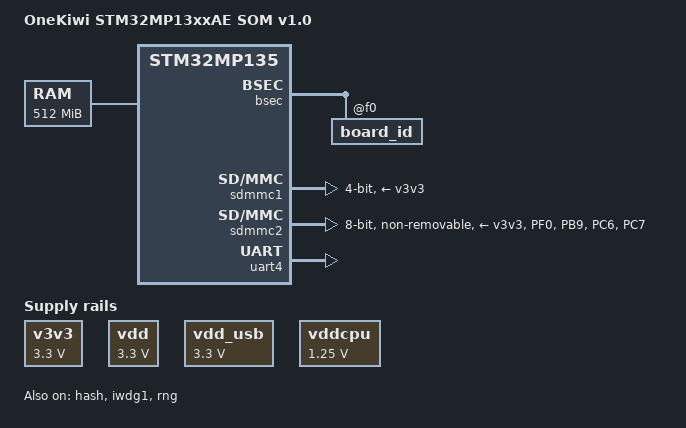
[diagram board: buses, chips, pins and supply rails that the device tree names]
// SPDX-License-Identifier: (GPL-2.0+ OR BSD-3-Clause)
/*
 * Copyright (C) STMicroelectronics 2022 - All Rights Reserved
 * Author: Alexandre Torgue <alexandre.torgue@foss.st.com> for STMicroelectronics.
 */

/dts-v1/;

#include <dt-bindings/clock/stm32mp13-clksrc.h>
#include <dt-bindings/pinctrl/stm32-pinfunc.h>
#include "stm32mp135.dtsi"
#include "stm32mp13xd.dtsi"
#include "stm32mp13-ddr3-1x4Gb-1066-binF.dtsi"
#include "stm32mp13-pinctrl.dtsi"

&pinctrl {
	i2c4_pins_b: i2c4-1 {
		pins {
			pinmux = <STM32_PINMUX('E', 15, AF6)>, /* I2C4_SCL */
				 <STM32_PINMUX('B', 7, AF6)>; /* I2C4_SDA */
			bias-disable;
			drive-open-drain;
			slew-rate = <0>;
		};
	};

	sdmmc2_d47_pins_a: sdmmc2-d47-0 {
		pins {
			pinmux = <STM32_PINMUX('F', 0, AF10)>, /* SDMMC2_D4 */
				 <STM32_PINMUX('B', 9, AF10)>, /* SDMMC2_D5 */
				 <STM32_PINMUX('C', 6, AF10)>, /* SDMMC2_D6 */
				 <STM32_PINMUX('C', 7, AF10)>; /* SDMMC2_D7 */
			slew-rate = <1>;
			drive-push-pull;
			bias-pull-up;
		};
	};

	sdmmc2_d47_sleep_pins_a: sdmmc2-d47-sleep-0 {
		pins {
			pinmux = <STM32_PINMUX('F', 0, ANALOG)>, /* SDMMC2_D4 */
				 <STM32_PINMUX('B', 9, ANALOG)>, /* SDMMC2_D5 */
				 <STM32_PINMUX('C', 6, ANALOG)>, /* SDMMC2_D6 */
				 <STM32_PINMUX('C', 7, ANALOG)>; /* SDMMC2_D7 */
		};
	};
};

/ {
	model = "OneKiwi STM32MP13xxAE SOM v1.0";
	compatible = "st,stm32mp13xxae-som", "st,stm32mp135";

	aliases {
		serial0 = &uart4;
	};

	chosen {
		stdout-path = "serial0:115200n8";
	};

	memory@c0000000 {
		device_type = "memory";
		reg = <0xc0000000 0x20000000>;
	};

	v3v3: v3v3 {
		compatible = "regulator-fixed";
		regulator-name = "v3v3";
		regulator-min-microvolt = <3300000>;
		regulator-max-microvolt = <3300000>;
		regulator-always-on;
	};

	vdd: vdd {
		compatible = "regulator-fixed";
		regulator-name = "vdd";
		regulator-min-microvolt = <3300000>;
		regulator-max-microvolt = <3300000>;
		regulator-always-on;
	};

	vdd_usb: vdd_usb {
		compatible = "regulator-fixed";
		regulator-name = "vdd_usb";
		regulator-min-microvolt = <3300000>;
		regulator-max-microvolt = <3300000>;
		regulator-always-on;
	};

	vddcpu: vddcpu {
		compatible = "regulator-fixed";
		regulator-name = "vddcpu";
		regulator-min-microvolt = <1250000>;
		regulator-max-microvolt = <1250000>;
		regulator-always-on;
	};
};

&bsec {
	board_id: board_id@f0 {
		reg = <0xf0 0x4>;
		st,non-secure-otp;
	};
};

&cpu0 {
	cpu-supply = <&vddcpu>;
};

&hash {
	status = "okay";
};

&i2c4 {
	pinctrl-names = "default";
	pinctrl-0 = <&i2c4_pins_b>;
	i2c-scl-rising-time-ns = <185>;
	i2c-scl-falling-time-ns = <20>;
	clock-frequency = <400000>;
	status = "disabled";
};

&iwdg1 {
	timeout-sec = <32>;
	status = "okay";
};

/*
&pka {
	status = "okay";
};*/

&pwr_regulators {
	vdd-supply = <&vdd>;
	vdd_3v3_usbfs-supply = <&vdd_usb>;
};

&rcc {
	st,clksrc = <
		CLK_MPU_PLL1P
		CLK_AXI_PLL2P
		CLK_MLAHBS_PLL3
		CLK_CKPER_HSE
		CLK_RTC_LSE
		CLK_SDMMC1_PLL4P
		CLK_SDMMC2_PLL4P
		CLK_STGEN_HSE
		CLK_USBPHY_HSE
		CLK_I2C4_HSI
		CLK_USBO_USBPHY
		CLK_I2C12_HSI
		CLK_UART2_HSI
		CLK_UART4_HSI
		CLK_SAES_AXI
	>;

	st,clkdiv = <
		DIV(DIV_AXI, 0)
		DIV(DIV_MLAHB, 0)
		DIV(DIV_APB1, 1)
		DIV(DIV_APB2, 1)
		DIV(DIV_APB3, 1)
		DIV(DIV_APB4, 1)
		DIV(DIV_APB5, 2)
		DIV(DIV_APB6, 1)
		DIV(DIV_RTC, 0)
	>;

	st,pll_vco {
		pll1_vco_1300Mhz: pll1-vco-1300Mhz {
			src = < CLK_PLL12_HSE >;
			divmn = < 2 80 >;
			frac = < 0x800 >;
		};

		pll2_vco_1066Mhz: pll2-vco-1066Mhz {
			src = < CLK_PLL12_HSE >;
			divmn = < 2 65 >;
			frac = < 0x1400 >;
		};

		pll3_vco_417_8Mhz: pll3-vco-417_8Mhz {
			src = < CLK_PLL3_HSE >;
			divmn = < 1 33 >;
			frac = < 0x1a04 >;
		};

		pll4_vco_600Mhz: pll4-vco-600Mhz {
			src = < CLK_PLL4_HSE >;
			divmn = < 1 49 >;
		};
	};

	/* VCO = 1300.0 MHz => P = 650 (CPU) */
	pll1:st,pll@0 {
		compatible = "st,stm32mp1-pll";
		reg = <0>;

		st,pll = < &pll1_cfg1 >;

		pll1_cfg1: pll1_cfg1 {
			st,pll_vco = < &pll1_vco_1300Mhz >;
			st,pll_div_pqr = < 0 1 1 >;
		};
	};

	/* VCO = 1066.0 MHz => P = 266 (AXI), Q = 266, R = 533 (DDR) */
	pll2:st,pll@1 {
		compatible = "st,stm32mp1-pll";
		reg = <1>;

		st,pll = < &pll2_cfg1 >;

		pll2_cfg1: pll2_cfg1 {
			st,pll_vco = < &pll2_vco_1066Mhz >;
			st,pll_div_pqr = < 1 1 0 >;
		};
	};

	/* VCO = 417.8 MHz => P = 209, Q = 24, R = 209 */
	pll3:st,pll@2 {
		compatible = "st,stm32mp1-pll";
		reg = <2>;

		st,pll = < &pll3_cfg1 >;

		pll3_cfg1: pll3_cfg1 {
			st,pll_vco = < &pll3_vco_417_8Mhz >;
			st,pll_div_pqr = < 1 16 1 >;
		};
	};

	/* VCO = 600.0 MHz => P = 50, Q = 10, R = 100 */
	pll4:st,pll@3 {
		compatible = "st,stm32mp1-pll";
		reg = <3>;

		st,pll = < &pll4_cfg1 >;

		pll4_cfg1: pll4_cfg1 {
			st,pll_vco = < &pll4_vco_600Mhz >;
			st,pll_div_pqr = < 11 59 5 >;
		};
	};
};

&rng {
	status = "okay";
};

/*
&saes {
	status = "okay";
};*/

&sdmmc1 {
	pinctrl-names = "default";
	pinctrl-0 = <&sdmmc1_b4_pins_a &sdmmc1_clk_pins_a>;
	disable-wp;
	st,neg-edge;
	bus-width = <4>;
	vmmc-supply = <&v3v3>;
	status = "okay";
};

&sdmmc2 {
	pinctrl-names = "default";
	pinctrl-0 = <&sdmmc2_b4_pins_a &sdmmc2_d47_pins_a>;
	non-removable;
	no-sd;
	no-sdio;
	st,neg-edge;
	bus-width = <8>;
	vmmc-supply = <&v3v3>;
	vqmmc-supply = <&vdd>;
	mmc-ddr-3_3v;
	status = "okay";
};

&uart4 {
	pinctrl-names = "default";
	pinctrl-0 = <&uart4_pins_a>;
	status = "okay";
};

&uart8 {
	pinctrl-names = "default";
	pinctrl-0 = <&uart8_pins_a>;
	status = "disabled";
};

&usart1 {
	pinctrl-names = "default";
	pinctrl-0 = <&usart1_pins_a>;
	uart-has-rtscts;
	status = "disabled";
};
